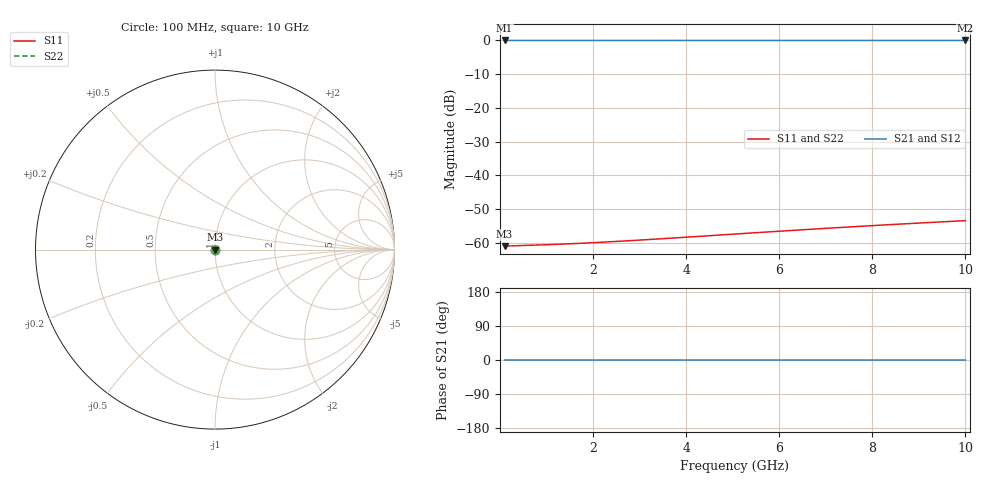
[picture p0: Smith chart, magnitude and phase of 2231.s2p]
# Hz S RI R 50.00
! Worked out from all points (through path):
!   100 points, 100 MHz to 10 GHz, reference 50 ohm
!   highest |S21| = -0.01 dB at 100 MHz (marker M1); lowest = 0.0 dB at 10 GHz (marker M2)
!   lowest |S11| = -61.0 dB at 100 MHz (marker M3), VSWR 1.00, Z = 50.1 + j0.0019 ohm
!   |S11| at or under -10 dB: start of sweep to end of sweep
!   |S22| runs from -61.0 to -53.4 dB; largest |S21 - S12| = 1e-15
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1e8  0.000892 1.9e-05  0.9991 -2.38e-05  0.9991 -2.38e-05  0.000892 1.9e-05
2e8  0.000897 3.8e-05  0.9991 -4.77e-05  0.9991 -4.77e-05  0.000897 3.8e-05
3e8  0.000902 5.7e-05  0.9991 -7.15e-05  0.9991 -7.15e-05  0.000902 5.7e-05
8e8  0.000915 0.000152  0.9991 -0.000191  0.9991 -0.000191  0.000915 0.000152
1.1e9  0.00092 0.000209  0.9991 -0.000262  0.9991 -0.000262  0.00092 0.000209
1.4e9  0.000924 0.000266  0.9991 -0.000334  0.9991 -0.000334  0.000924 0.000266
1.6e9  0.000926 0.000304  0.9991 -0.000381  0.9991 -0.000381  0.000926 0.000304
1.8e9  0.000928 0.000342  0.9991 -0.000429  0.9991 -0.000429  0.000928 0.000342
2.1e9  0.000931 0.000399  0.9991 -0.000501  0.9991 -0.000501  0.000931 0.000399
2.5e9  0.000934 0.000475  0.9991 -0.000596  0.9991 -0.000596  0.000934 0.000475
2.9e9  0.000937 0.000551  0.9991 -0.000691  0.9991 -0.000691  0.000937 0.000551
3.4e9  0.00094 0.000646  0.9991 -0.000811  0.9991 -0.000811  0.00094 0.000646
4e9  0.000943 0.00076  0.9991 -0.000954  0.9991 -0.000954  0.000943 0.00076
5.1e9  0.000948 0.00097  0.9991 -0.00122  0.9991 -0.00122  0.000948 0.00097
6e9  0.000951 0.00114  0.999 -0.00143  0.999 -0.00143  0.000951 0.00114
6.7e9  0.000954 0.00127  0.999 -0.0016  0.999 -0.0016  0.000954 0.00127
7.2e9  0.000955 0.00137  0.999 -0.00172  0.999 -0.00172  0.000955 0.00137
7.6e9  0.000956 0.00144  0.999 -0.00181  0.999 -0.00181  0.000956 0.00144
8e9  0.000957 0.00152  0.999 -0.00191  0.999 -0.00191  0.000957 0.00152
8.4e9  0.000959 0.0016  0.999 -0.002  0.999 -0.002  0.000959 0.0016
9.2e9  0.000961 0.00175  0.999 -0.00219  0.999 -0.00219  0.000961 0.00175
1e10  0.000963 0.0019  0.999 -0.00238  0.999 -0.00238  0.000963 0.0019
